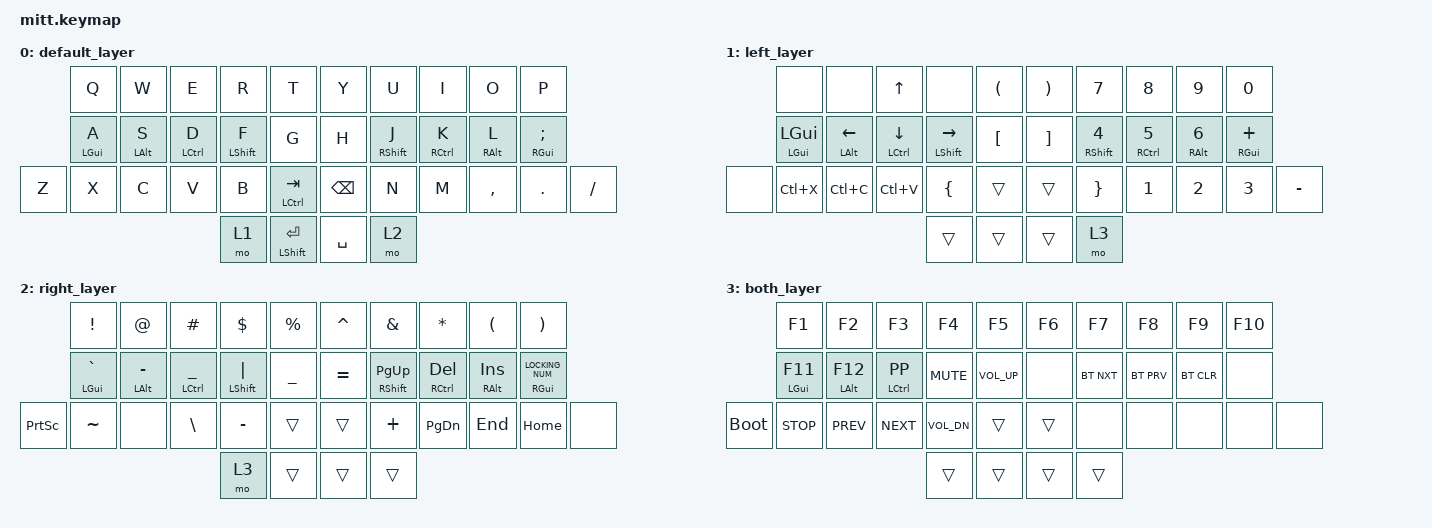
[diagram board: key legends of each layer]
/*
 * Copyright (c) 2020 The ZMK Contributors
 *
 * SPDX-License-Identifier: MIT
 * Key map for the MIT keyboard designed by Steve
 * ZX at the same time is delete
 * QW at the same time is escape
 * L; at the same time is quote
 */

#include <behaviors.dtsi>
#include <dt-bindings/zmk/keys.h>
#include <dt-bindings/zmk/bt.h>

&mt {
    tapping-term-ms = <200>;
    flavor = "tap-preferred";
 };
&sk {
     release-after-ms = <2000>;
     quick-release;
 };


/ { 
    combos {
        compatible = "zmk,combos";
        combo_esc { 
            timeout-ms = <50>;
            key-positions = <0 1>;
            bindings = <&kp ESC>;
        };
        
        combo_del {
            timeout-ms = <50>;
	    key-positions = <20 21>;
            bindings = <&kp DEL>;
        };
        
        combo_quote {
            timeout-ms = <50>;
	    key-positions = <18 19>;
            bindings = <&kp SQT>;
        };

    };

    behaviors {
        hm: homerow_mods {
            compatible = "zmk,behavior-hold-tap";
            label = "HOMEROW_MODS";
            #binding-cells = <2>;
            tapping-term-ms = <200>;
            quick_tap_ms = <0>;
            flavor = "tap-preferred";
            bindings = <&kp>, <&kp>;
        };
 
        en: tapdance {
            compatible = "zmk,behavior-hold-tap";
            label = "ENTER-SHIFT";
            #binding-cells = <2>;
            tapping-term-ms = <190>;
            quick_tap_ms = <0>;
            flavor = "hold-preferred";
            bindings = <&kp>, <&kp>;
        };
    };

        keymap {
                compatible = "zmk,keymap";
                
       		default_layer {
		bindings = <
		&kp Q		&kp W  	   	&kp E 		&kp R           &kp T						&kp Y    	&kp U    	&kp I                   &kp O           &kp P  
		&hm LGUI A      &hm LALT S  	&hm LCTL D	&hm LSHIFT F    &kp G    		                        &kp H           &hm RSHIFT J   	&hm RCTL K    		&hm RALT L 	&hm RGUI SEMI
		&kp Z	 	&kp X 		&kp C 		&kp V 		&kp B        &mt LCTL TAB     	&kp BSPC        &kp N		&kp M  		&kp  COMMA		&kp DOT		&kp SLASH
          									&mo 1        &en LSHFT ENTER 	&kp SPACE       &mo 2
		>;
		};

       		left_layer {
		bindings = <
		&none   	&none   	&kp UP 		&none           &kp LPAR					&kp RPAR    	&kp N7    	&kp N8                  &kp N9           &kp N0  
		&hm LGUI LGUI   &hm LALT LEFT  	&hm LCTL DOWN	&hm LSHIFT RIGHT  &kp LBKT    		                        &kp RBKT        &hm RSHIFT N4   &hm RCTL N5    		&hm RALT N6 	&hm RGUI PLUS
		&none 	        &kp LC(X)	&kp LC(C)       &kp LC(V)	&kp LBRC     &trans     	&trans          &kp RBRC	&kp N1  	&kp  N2 		&kp N3		&kp MINUS
          									&trans       &trans     	&trans          &mo 3
		>;
		};

		right_layer {
		bindings = <
		&kp EXCL	&kp AT 	   	&kp HASH	&kp DOLLAR      &kp PRCNT         				&kp CARET    	&kp AMPS    	&kp ASTRK               &kp LPAR        &kp RPAR  
		&hm LGUI GRAVE  &hm LALT MINUS 	&hm LCTL UNDER	&hm LSHIFT PIPE &kp UNDER    		                        &kp EQUAL       &hm RSHIFT PG_UP &hm RCTL DEL   	&hm RALT INS 	&hm RGUI LOCKING_NUM
		&kp PSCRN 	&kp TILDE	&none 		&kp BSLH	&kp MINUS    &trans     	&trans          &kp PLUS	&kp PG_DN	&kp END 		&kp HOME	&none
          									&mo 3        &trans     	&trans          &trans
		>;
		};

        	both_layer {
		bindings = <
		&kp F1		&kp F2 	   	&kp F3 		&kp F4          &kp F5  					&kp F6    	&kp F7    	&kp F8                  &kp F9          &kp F10
		&hm LGUI F11    &hm LALT F12  	&hm LCTL K_PP	&kp K_MUTE      &kp K_VOL_UP  		                        &none           &bt BT_NXT	&bt BT_PRV             &bt BT_CLR	&none
		&bootloader 	&kp K_STOP	&kp K_PREV	&kp K_NEXT	&kp K_VOL_DN &trans     	&trans          &none		&none  		&none   		&none    	&none
          									&trans       &trans     	&trans          &trans
		>;
		};
	};
};
